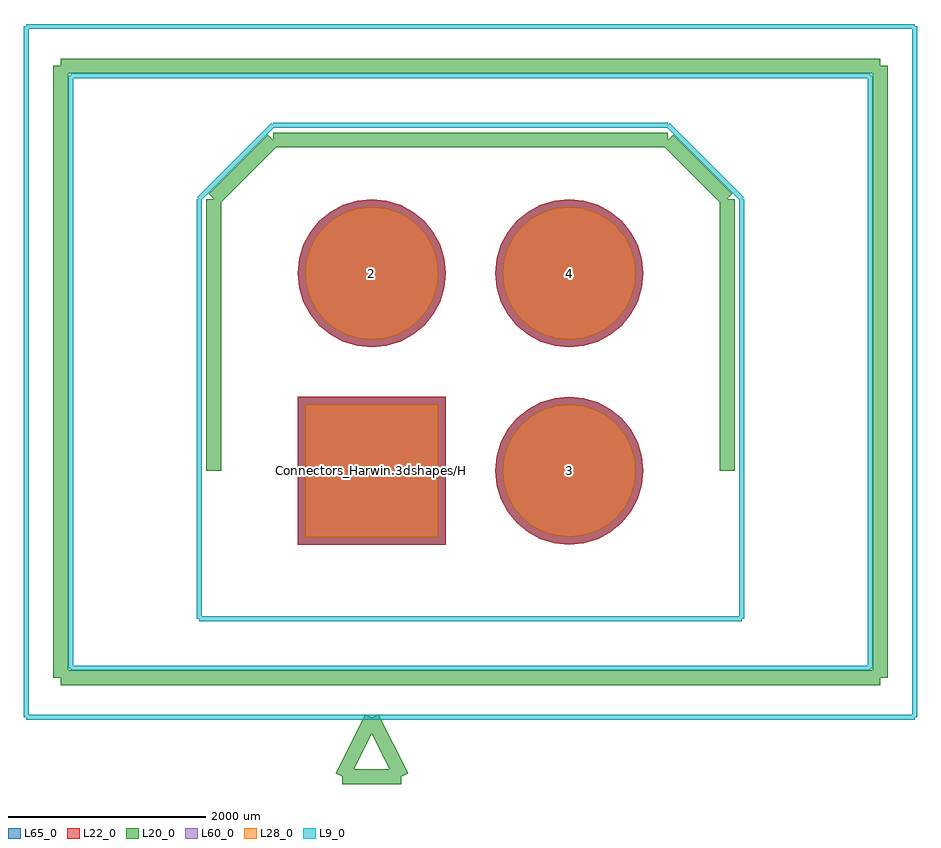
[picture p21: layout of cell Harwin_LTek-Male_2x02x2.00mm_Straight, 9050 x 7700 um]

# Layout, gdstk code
import gdstk
lib = gdstk.Library(unit=1e-6, precision=1e-09)
def R(c, l, rs):  # rectangles x0, y0, x1, y1
    for r in rs: c.add(gdstk.rectangle(r[:2], r[2:], *l))
def P(c, l, *ps):  # polygons
    for p in ps: c.add(gdstk.Polygon(p, *l))
L9_0 = (9, 0)
L20_0 = (20, 0)
L22_0 = (22, 0)
L28_0 = (28, 0)
L60_0 = (60, 0)
L65_0 = (65, 0)

harwin_ltek_male_2x02x2_ = lib.new_cell('Harwin_LTek-Male_2x02x2.00mm_Straight')
R(harwin_ltek_male_2x02x2_, L22_0, [(-750,-750,750,750)])
P(harwin_ltek_male_2x02x2_, L22_0, [(2750,2000),(2735.589,2146.318),(2692.91,2287.013),(2623.602,2416.678),(2530.33,2530.33),(2416.678,2623.602),(2287.013,2692.91),(2146.318,2735.589),(2000,2750),(1853.682,2735.589),(1712.987,2692.91),(1583.322,2623.602),(1469.67,2530.33),(1376.398,2416.678),(1307.09,2287.013),(1264.411,2146.318),(1250,2000),(1264.411,1853.682),(1307.09,1712.987),(1376.398,1583.322),(1469.67,1469.67),(1583.322,1376.398),(1712.987,1307.09),(1853.682,1264.411),(2000,1250),(2146.318,1264.411),(2287.013,1307.09),(2416.678,1376.398),(2530.33,1469.67),(2623.602,1583.322),(2692.91,1712.987),(2735.589,1853.682)],
  [(750,2000),(735.589,2146.318),(692.91,2287.013),(623.602,2416.678),(530.33,2530.33),(416.678,2623.602),(287.013,2692.91),(146.318,2735.589),(0,2750),(-146.318,2735.589),(-287.013,2692.91),(-416.678,2623.602),(-530.33,2530.33),(-623.602,2416.678),(-692.91,2287.013),(-735.589,2146.318),(-750,2000),(-735.589,1853.682),(-692.91,1712.987),(-623.602,1583.322),(-530.33,1469.67),(-416.678,1376.398),(-287.013,1307.09),(-146.318,1264.411),(0,1250),(146.318,1264.411),(287.013,1307.09),(416.678,1376.398),(530.33,1469.67),(623.602,1583.322),(692.91,1712.987),(735.589,1853.682)],
  [(2750,0),(2735.589,146.318),(2692.91,287.013),(2623.602,416.678),(2530.33,530.33),(2416.678,623.602),(2287.013,692.91),(2146.318,735.589),(2000,750),(1853.682,735.589),(1712.987,692.91),(1583.322,623.602),(1469.67,530.33),(1376.398,416.678),(1307.09,287.013),(1264.411,146.318),(1250,0),(1264.411,-146.318),(1307.09,-287.013),(1376.398,-416.678),(1469.67,-530.33),(1583.322,-623.602),(1712.987,-692.91),(1853.682,-735.589),(2000,-750),(2146.318,-735.589),(2287.013,-692.91),(2416.678,-623.602),(2530.33,-530.33),(2623.602,-416.678),(2692.91,-287.013),(2735.589,-146.318)])
R(harwin_ltek_male_2x02x2_, L28_0, [(-675,-675,675,675)])
P(harwin_ltek_male_2x02x2_, L28_0, [(2675,2000),(2662.03,2131.686),(2623.619,2258.311),(2561.242,2375.01),(2477.297,2477.297),(2375.01,2561.242),(2258.311,2623.619),(2131.686,2662.03),(2000,2675),(1868.314,2662.03),(1741.689,2623.619),(1624.99,2561.242),(1522.703,2477.297),(1438.758,2375.01),(1376.381,2258.311),(1337.97,2131.686),(1325,2000),(1337.97,1868.314),(1376.381,1741.689),(1438.758,1624.99),(1522.703,1522.703),(1624.99,1438.758),(1741.689,1376.381),(1868.314,1337.97),(2000,1325),(2131.686,1337.97),(2258.311,1376.381),(2375.01,1438.758),(2477.297,1522.703),(2561.242,1624.99),(2623.619,1741.689),(2662.03,1868.314)],
  [(675,2000),(662.03,2131.686),(623.619,2258.311),(561.242,2375.01),(477.297,2477.297),(375.01,2561.242),(258.311,2623.619),(131.686,2662.03),(0,2675),(-131.686,2662.03),(-258.311,2623.619),(-375.01,2561.242),(-477.297,2477.297),(-561.242,2375.01),(-623.619,2258.311),(-662.03,2131.686),(-675,2000),(-662.03,1868.314),(-623.619,1741.689),(-561.242,1624.99),(-477.297,1522.703),(-375.01,1438.758),(-258.311,1376.381),(-131.686,1337.97),(0,1325),(131.686,1337.97),(258.311,1376.381),(375.01,1438.758),(477.297,1522.703),(561.242,1624.99),(623.619,1741.689),(662.03,1868.314)],
  [(2675,0),(2662.03,131.686),(2623.619,258.311),(2561.242,375.01),(2477.297,477.297),(2375.01,561.242),(2258.311,623.619),(2131.686,662.03),(2000,675),(1868.314,662.03),(1741.689,623.619),(1624.99,561.242),(1522.703,477.297),(1438.758,375.01),(1376.381,258.311),(1337.97,131.686),(1325,0),(1337.97,-131.686),(1376.381,-258.311),(1438.758,-375.01),(1522.703,-477.297),(1624.99,-561.242),(1741.689,-623.619),(1868.314,-662.03),(2000,-675),(2131.686,-662.03),(2258.311,-623.619),(2375.01,-561.242),(2477.297,-477.297),(2561.242,-375.01),(2623.619,-258.311),(2662.03,-131.686)])
R(harwin_ltek_male_2x02x2_, L60_0, [(-675,-675,675,675)])
P(harwin_ltek_male_2x02x2_, L60_0, [(2675,2000),(2662.03,2131.686),(2623.619,2258.311),(2561.242,2375.01),(2477.297,2477.297),(2375.01,2561.242),(2258.311,2623.619),(2131.686,2662.03),(2000,2675),(1868.314,2662.03),(1741.689,2623.619),(1624.99,2561.242),(1522.703,2477.297),(1438.758,2375.01),(1376.381,2258.311),(1337.97,2131.686),(1325,2000),(1337.97,1868.314),(1376.381,1741.689),(1438.758,1624.99),(1522.703,1522.703),(1624.99,1438.758),(1741.689,1376.381),(1868.314,1337.97),(2000,1325),(2131.686,1337.97),(2258.311,1376.381),(2375.01,1438.758),(2477.297,1522.703),(2561.242,1624.99),(2623.619,1741.689),(2662.03,1868.314)],
  [(675,2000),(662.03,2131.686),(623.619,2258.311),(561.242,2375.01),(477.297,2477.297),(375.01,2561.242),(258.311,2623.619),(131.686,2662.03),(0,2675),(-131.686,2662.03),(-258.311,2623.619),(-375.01,2561.242),(-477.297,2477.297),(-561.242,2375.01),(-623.619,2258.311),(-662.03,2131.686),(-675,2000),(-662.03,1868.314),(-623.619,1741.689),(-561.242,1624.99),(-477.297,1522.703),(-375.01,1438.758),(-258.311,1376.381),(-131.686,1337.97),(0,1325),(131.686,1337.97),(258.311,1376.381),(375.01,1438.758),(477.297,1522.703),(561.242,1624.99),(623.619,1741.689),(662.03,1868.314)],
  [(2675,0),(2662.03,131.686),(2623.619,258.311),(2561.242,375.01),(2477.297,477.297),(2375.01,561.242),(2258.311,623.619),(2131.686,662.03),(2000,675),(1868.314,662.03),(1741.689,623.619),(1624.99,561.242),(1522.703,477.297),(1438.758,375.01),(1376.381,258.311),(1337.97,131.686),(1325,0),(1337.97,-131.686),(1376.381,-258.311),(1438.758,-375.01),(1522.703,-477.297),(1624.99,-561.242),(1741.689,-623.619),(1868.314,-662.03),(2000,-675),(2131.686,-662.03),(2258.311,-623.619),(2375.01,-561.242),(2477.297,-477.297),(2561.242,-375.01),(2623.619,-258.311),(2662.03,-131.686)])
R(harwin_ltek_male_2x02x2_, L65_0, [(-750,-750,750,750)])
P(harwin_ltek_male_2x02x2_, L65_0, [(2750,2000),(2735.589,2146.318),(2692.91,2287.013),(2623.602,2416.678),(2530.33,2530.33),(2416.678,2623.602),(2287.013,2692.91),(2146.318,2735.589),(2000,2750),(1853.682,2735.589),(1712.987,2692.91),(1583.322,2623.602),(1469.67,2530.33),(1376.398,2416.678),(1307.09,2287.013),(1264.411,2146.318),(1250,2000),(1264.411,1853.682),(1307.09,1712.987),(1376.398,1583.322),(1469.67,1469.67),(1583.322,1376.398),(1712.987,1307.09),(1853.682,1264.411),(2000,1250),(2146.318,1264.411),(2287.013,1307.09),(2416.678,1376.398),(2530.33,1469.67),(2623.602,1583.322),(2692.91,1712.987),(2735.589,1853.682)],
  [(750,2000),(735.589,2146.318),(692.91,2287.013),(623.602,2416.678),(530.33,2530.33),(416.678,2623.602),(287.013,2692.91),(146.318,2735.589),(0,2750),(-146.318,2735.589),(-287.013,2692.91),(-416.678,2623.602),(-530.33,2530.33),(-623.602,2416.678),(-692.91,2287.013),(-735.589,2146.318),(-750,2000),(-735.589,1853.682),(-692.91,1712.987),(-623.602,1583.322),(-530.33,1469.67),(-416.678,1376.398),(-287.013,1307.09),(-146.318,1264.411),(0,1250),(146.318,1264.411),(287.013,1307.09),(416.678,1376.398),(530.33,1469.67),(623.602,1583.322),(692.91,1712.987),(735.589,1853.682)],
  [(2750,0),(2735.589,146.318),(2692.91,287.013),(2623.602,416.678),(2530.33,530.33),(2416.678,623.602),(2287.013,692.91),(2146.318,735.589),(2000,750),(1853.682,735.589),(1712.987,692.91),(1583.322,623.602),(1469.67,530.33),(1376.398,416.678),(1307.09,287.013),(1264.411,146.318),(1250,0),(1264.411,-146.318),(1307.09,-287.013),(1376.398,-416.678),(1469.67,-530.33),(1583.322,-623.602),(1712.987,-692.91),(1853.682,-735.589),(2000,-750),(2146.318,-735.589),(2287.013,-692.91),(2416.678,-623.602),(2530.33,-530.33),(2623.602,-416.678),(2692.91,-287.013),(2735.589,-146.318)])
harwin_ltek_male_2x02x2_.add(gdstk.FlexPath([(300,-3100),(0,-2500)], 149.998, ends="flush", simple_path=True, layer=20, datatype=0))  # L20_0
harwin_ltek_male_2x02x2_.add(gdstk.FlexPath([(-300,-3100),(300,-3100)], 149.998, ends="flush", simple_path=True, layer=20, datatype=0))  # L20_0
harwin_ltek_male_2x02x2_.add(gdstk.FlexPath([(0,-2500),(-300,-3100)], 149.998, ends="flush", simple_path=True, layer=20, datatype=0))  # L20_0
harwin_ltek_male_2x02x2_.add(gdstk.FlexPath([(3000,3350),(1000,3350)], 149.998, ends="flush", simple_path=True, layer=20, datatype=0))  # L20_0
harwin_ltek_male_2x02x2_.add(gdstk.FlexPath([(3600,2750),(3000,3350)], 149.998, ends="flush", simple_path=True, layer=20, datatype=0))  # L20_0
harwin_ltek_male_2x02x2_.add(gdstk.FlexPath([(3600,0),(3600,2750)], 149.998, ends="flush", simple_path=True, layer=20, datatype=0))  # L20_0
harwin_ltek_male_2x02x2_.add(gdstk.FlexPath([(-1000,3350),(1000,3350)], 149.998, ends="flush", simple_path=True, layer=20, datatype=0))  # L20_0
harwin_ltek_male_2x02x2_.add(gdstk.FlexPath([(-1600,2750),(-1000,3350)], 149.998, ends="flush", simple_path=True, layer=20, datatype=0))  # L20_0
harwin_ltek_male_2x02x2_.add(gdstk.FlexPath([(-1600,0),(-1600,2750)], 149.998, ends="flush", simple_path=True, layer=20, datatype=0))  # L20_0
harwin_ltek_male_2x02x2_.add(gdstk.FlexPath([(3750,-1500),(-1750,-1500)], 50, ends="flush", simple_path=True, layer=9, datatype=0))  # L9_0
harwin_ltek_male_2x02x2_.add(gdstk.FlexPath([(3750,2750),(3750,-1500)], 50, ends="flush", simple_path=True, layer=9, datatype=0))  # L9_0
harwin_ltek_male_2x02x2_.add(gdstk.FlexPath([(3000,3500),(3750,2750)], 50, ends="flush", simple_path=True, layer=9, datatype=0))  # L9_0
harwin_ltek_male_2x02x2_.add(gdstk.FlexPath([(-1000,3500),(3000,3500)], 50, ends="flush", simple_path=True, layer=9, datatype=0))  # L9_0
harwin_ltek_male_2x02x2_.add(gdstk.FlexPath([(-1750,2750),(-1000,3500)], 50, ends="flush", simple_path=True, layer=9, datatype=0))  # L9_0
harwin_ltek_male_2x02x2_.add(gdstk.FlexPath([(-1750,-1500),(-1750,2750)], 50, ends="flush", simple_path=True, layer=9, datatype=0))  # L9_0
harwin_ltek_male_2x02x2_.add(gdstk.FlexPath([(5050,4000),(-3050,4000)], 50, ends="flush", simple_path=True, layer=9, datatype=0))  # L9_0
harwin_ltek_male_2x02x2_.add(gdstk.FlexPath([(5050,-2000),(5050,4000)], 50, ends="flush", simple_path=True, layer=9, datatype=0))  # L9_0
harwin_ltek_male_2x02x2_.add(gdstk.FlexPath([(-3050,-2000),(5050,-2000)], 50, ends="flush", simple_path=True, layer=9, datatype=0))  # L9_0
harwin_ltek_male_2x02x2_.add(gdstk.FlexPath([(-3050,4000),(-3050,-2000)], 50, ends="flush", simple_path=True, layer=9, datatype=0))  # L9_0
harwin_ltek_male_2x02x2_.add(gdstk.FlexPath([(5500,4500),(-3500,4500)], 50, ends="flush", simple_path=True, layer=9, datatype=0))  # L9_0
harwin_ltek_male_2x02x2_.add(gdstk.FlexPath([(5500,-2500),(5500,4500)], 50, ends="flush", simple_path=True, layer=9, datatype=0))  # L9_0
harwin_ltek_male_2x02x2_.add(gdstk.FlexPath([(-3500,-2500),(5500,-2500)], 50, ends="flush", simple_path=True, layer=9, datatype=0))  # L9_0
harwin_ltek_male_2x02x2_.add(gdstk.FlexPath([(-3500,4500),(-3500,-2500)], 50, ends="flush", simple_path=True, layer=9, datatype=0))  # L9_0
harwin_ltek_male_2x02x2_.add(gdstk.FlexPath([(5150,4100),(-3150,4100)], 149.998, ends="flush", simple_path=True, layer=20, datatype=0))  # L20_0
harwin_ltek_male_2x02x2_.add(gdstk.FlexPath([(5150,-2100),(5150,4100)], 149.998, ends="flush", simple_path=True, layer=20, datatype=0))  # L20_0
harwin_ltek_male_2x02x2_.add(gdstk.FlexPath([(-3150,-2100),(5150,-2100)], 149.998, ends="flush", simple_path=True, layer=20, datatype=0))  # L20_0
harwin_ltek_male_2x02x2_.add(gdstk.FlexPath([(-3150,4100),(-3150,-2100)], 149.998, ends="flush", simple_path=True, layer=20, datatype=0))  # L20_0
harwin_ltek_male_2x02x2_.add(gdstk.Label('Connectors_Harwin.3dshapes/Harwin_LTek-Male_2x02x2.00mm_Straight.wrl', (0,0), layer=12, texttype=0))
harwin_ltek_male_2x02x2_.add(gdstk.Label('4', (2000,2000), layer=28, texttype=0))
harwin_ltek_male_2x02x2_.add(gdstk.Label('2', (0,2000), layer=28, texttype=0))
harwin_ltek_male_2x02x2_.add(gdstk.Label('3', (2000,0), layer=28, texttype=0))
harwin_ltek_male_2x02x2_.add(gdstk.Label('1', (0,0), layer=28, texttype=0))
harwin_ltek_male_2x02x2_.add(gdstk.Label('type', (1000,-4000), layer=9, texttype=0))
harwin_ltek_male_2x02x2_.add(gdstk.Label('devicename', (1000,5500), layer=9, texttype=0))

lib.write_gds('Harwin_LTek-Male_2x02x2.00mm_Straight.gds')
